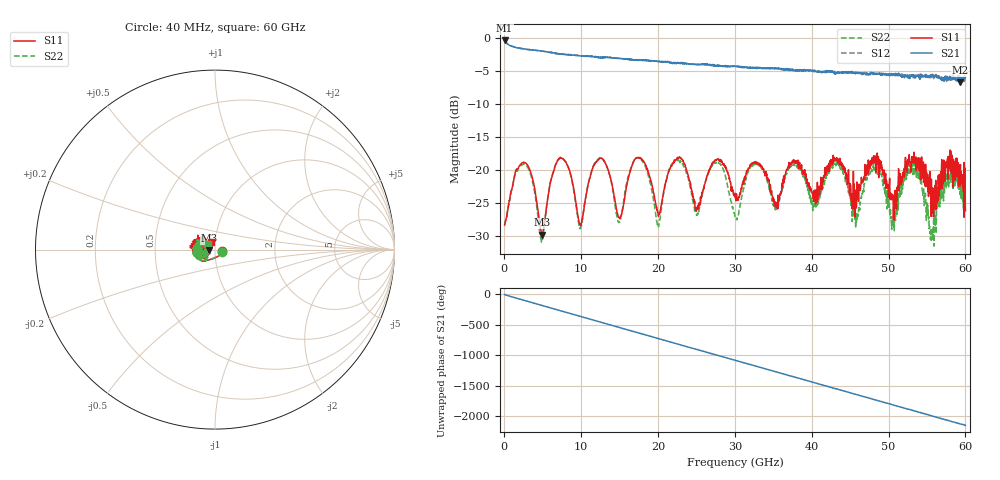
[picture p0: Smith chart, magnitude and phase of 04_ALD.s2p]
! File created by 'SoftPlot +Plus+ Measurement Management Software'
! SoftPlot +Plus+ Measurement Management Software
! Start 40.000000 MHz  Stop 60.000000 GHz  Points 1601
# MHZ S RI R 50
! S-Parameter data, F S11 S21 S12 S22
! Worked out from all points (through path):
!   1601 points, 40 MHz to 60 GHz, reference 50 ohm
!   highest |S21| = -0.41 dB at 40 MHz (marker M1); lowest = -6.8 dB at 59.29 GHz (marker M2)
!   group delay of S21, straight-line fit = 99.3 ps
!   lowest |S11| = -29.9 dB at 4.912 GHz (marker M3), VSWR 1.07, Z = 46.9 - j0.388 ohm
!   |S11| at or under -10 dB: start of sweep to end of sweep
!   |S22| runs from -31.6 to -18.2 dB; largest |S21 - S12| = 0.049
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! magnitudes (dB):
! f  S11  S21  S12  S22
! 40 MHz  -28.4  -0.4  -0.4  -28.4
! 2.663 GHz  -18.9  -1.7  -1.7  -19.2
! 4.912 GHz  -29.9  -2.0  -2.0  -30.9
! 7.273 GHz  -18.2  -2.4  -2.5  -18.2
! 10.05 GHz  -28.0  -2.8  -2.8  -28.5
! 12.48 GHz  -18.3  -3.0  -3.1  -18.2
! 14.92 GHz  -27.2  -3.1  -3.1  -28.0
! 17.84 GHz  -18.4  -3.4  -3.3  -18.5
! 20.05 GHz  -27.1  -3.6  -3.6  -28.6
! 22.41 GHz  -18.5  -3.8  -3.8  -18.7
! 28 GHz  -18.5  -4.3  -4.3  -19.1
! 30.02 GHz  -23.6  -4.3  -4.3  -27.0
! 32.64 GHz  -18.8  -4.6  -4.5  -19.0
! 40.03 GHz  -23.3  -4.9  -4.9  -24.7
! 43.14 GHz  -18.7  -5.5  -5.3  -19.4
! 45.53 GHz  -25.1  -5.4  -5.3  -27.3
! 48.01 GHz  -18.3  -5.5  -5.5  -19.6
! 50.03 GHz  -23.5  -5.6  -5.5  -24.6
! 53.52 GHz  -18.3  -5.7  -5.8  -20.2
! 55.62 GHz  -26.7  -5.6  -5.7  -29.7
! 59.29 GHz  -22.5  -6.8  -6.4  -23.7
! 60 GHz  -26.2  -5.9  -6.3  -26.3
